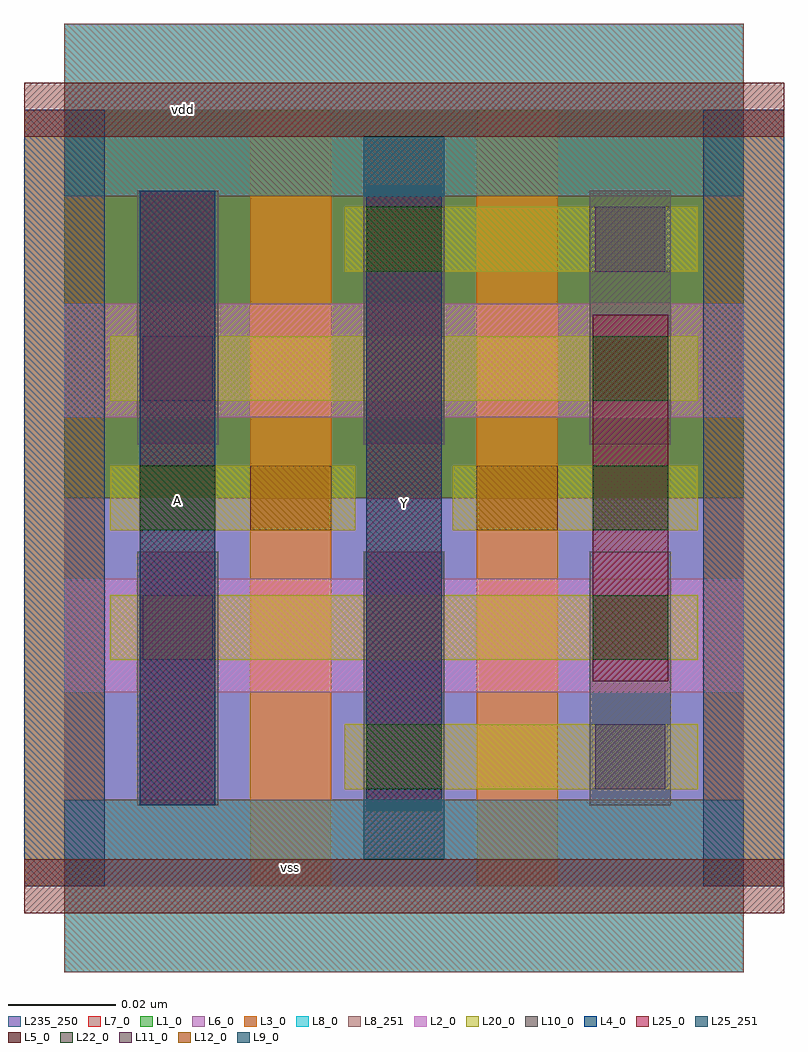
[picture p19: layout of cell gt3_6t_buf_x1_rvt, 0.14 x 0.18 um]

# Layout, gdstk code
import gdstk
lib = gdstk.Library(unit=1e-6, precision=5e-10)
def R(c, l, rs):  # rectangles x0, y0, x1, y1
    for r in rs: c.add(gdstk.rectangle(r[:2], r[2:], *l))
def A(c, l, x, y, w, h, nx, ny, dx, dy):  # array of equal rectangles
    R(c, l, [(x+i*dx, y+j*dy, x+i*dx+w, y+j*dy+h) for i in range(nx) for j in range(ny)])
L1_0 = (1, 0)
L2_0 = (2, 0)
L3_0 = (3, 0)
L4_0 = (4, 0)
L5_0 = (5, 0)
L6_0 = (6, 0)
L7_0 = (7, 0)
L8_0 = (8, 0)
L8_251 = (8, 251)
L9_0 = (9, 0)
L10_0 = (10, 0)
L11_0 = (11, 0)
L12_0 = (12, 0)
L20_0 = (20, 0)
L22_0 = (22, 0)
L25_0 = (25, 0)
L25_251 = (25, 251)
L235_250 = (235, 250)

gt3_6t_buf_x1_rvt = lib.new_cell('gt3_6t_buf_x1_rvt')
R(gt3_6t_buf_x1_rvt, L1_0, [(0,0.072,0.126,0.144)])
R(gt3_6t_buf_x1_rvt, L2_0, [(0,0.036,0.126,0.057), (0,0.087,0.126,0.108)])
A(gt3_6t_buf_x1_rvt, L3_0, -0.0075, 0, 0.015, 0.144, 4, 1, 0.042, 0)
R(gt3_6t_buf_x1_rvt, L4_0, [(-0.0075,0,0.0075,0.144), (0.1185,0,0.1335,0.144)])
R(gt3_6t_buf_x1_rvt, L5_0, [(-0.0075,-0.005,0.1335,0.005), (-0.0075,0.139,0.1335,0.149)])
R(gt3_6t_buf_x1_rvt, L6_0, [(0,0,0.126,0.072)])
R(gt3_6t_buf_x1_rvt, L7_0, [(0,0.072,0.126,0.144)])
R(gt3_6t_buf_x1_rvt, L8_0, [(0,-0.016,0.126,0.016), (0,0.128,0.126,0.16)])
R(gt3_6t_buf_x1_rvt, L8_251, [(0,-0.016,0.126,0.016), (0,0.128,0.126,0.16)])
R(gt3_6t_buf_x1_rvt, L9_0, [(0.0555,0.005,0.0705,0.016), (0.0555,0.128,0.0705,0.139)])
R(gt3_6t_buf_x1_rvt, L10_0, [(0.0555,0.005,0.0705,0.062), (0.0135,0.015,0.0285,0.062), (0.0975,0.015,0.1125,0.062), (0.0135,0.082,0.0285,0.129), (0.0555,0.082,0.0705,0.139), (0.0975,0.082,0.1125,0.129)])
R(gt3_6t_buf_x1_rvt, L11_0, [(0.0985,0.018,0.1115,0.03), (0.0145,0.042,0.0275,0.054), (0.0145,0.09,0.0275,0.102), (0.0985,0.114,0.1115,0.126)])
R(gt3_6t_buf_x1_rvt, L12_0, [(0.0345,0.066,0.0495,0.078), (0.0765,0.066,0.0915,0.078)])
R(gt3_6t_buf_x1_rvt, L20_0, [(0.052,0.018,0.1175,0.03), (0.0085,0.042,0.1175,0.054), (0.0085,0.066,0.054,0.078), (0.072,0.066,0.1175,0.078), (0.0085,0.09,0.1175,0.102), (0.052,0.114,0.1175,0.126)])
A(gt3_6t_buf_x1_rvt, L22_0, 0.098, 0.042, 0.014, 0.012, 1, 3, 0, 0.024)
R(gt3_6t_buf_x1_rvt, L22_0, [(0.056,0.018,0.07,0.03), (0.014,0.066,0.028,0.078), (0.056,0.114,0.07,0.126)])
R(gt3_6t_buf_x1_rvt, L25_0, [(0.056,0.014,0.07,0.13), (0.014,0.015,0.028,0.129), (0.098,0.038,0.112,0.106)])
R(gt3_6t_buf_x1_rvt, L25_251, [(0.056,0.014,0.07,0.13), (0.014,0.015,0.028,0.129)])
R(gt3_6t_buf_x1_rvt, L235_250, [(0,0,0.126,0.144)])
gt3_6t_buf_x1_rvt.add(gdstk.Label('vss', (0.042,0.0035), layer=8, texttype=251))
gt3_6t_buf_x1_rvt.add(gdstk.Label('vdd', (0.022,0.144), layer=8, texttype=251))
gt3_6t_buf_x1_rvt.add(gdstk.Label('Y', (0.063,0.071), layer=25, texttype=251))
gt3_6t_buf_x1_rvt.add(gdstk.Label('A', (0.021,0.0715), layer=25, texttype=251))

lib.write_gds('gt3_6t_buf_x1_rvt.gds')
